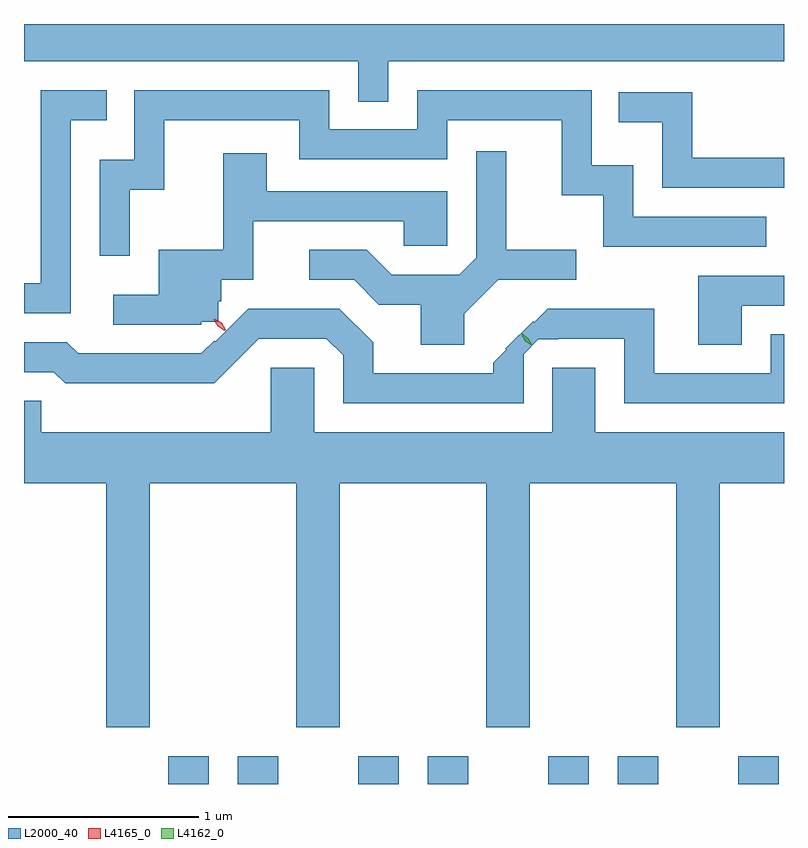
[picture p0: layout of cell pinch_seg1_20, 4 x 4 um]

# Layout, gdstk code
import gdstk
lib = gdstk.Library(unit=1e-6, precision=1e-09)
def R(c, l, rs):  # rectangles x0, y0, x1, y1
    for r in rs: c.add(gdstk.rectangle(r[:2], r[2:], *l))
def P(c, l, *ps):  # polygons
    for p in ps: c.add(gdstk.Polygon(p, *l))
L2000_40 = (2000, 40)
L4162_0 = (4162, 0)
L4165_0 = (4165, 0)

pinch_seg1_20 = lib.new_cell('pinch_seg1_20')
R(pinch_seg1_20, L2000_40, [(1895.071,846.933,1895.284,847.079), (1895.436,846.933,1895.649,847.079), (1896.071,846.933,1896.284,847.079), (1896.436,846.933,1896.649,847.079), (1897.071,846.933,1897.284,847.079), (1897.436,846.933,1897.649,847.079), (1898.071,846.933,1898.284,847.079)])
P(pinch_seg1_20, L2000_40, [(1896.229,850.736),(1898.312,850.736),(1898.312,850.933),(1894.312,850.933),(1894.312,850.736),(1896.071,850.736),(1896.071,850.523),(1896.229,850.523)],
  [(1894.869,850.061),(1895.049,850.061),(1895.049,850.426),(1895.761,850.426),(1895.761,850.221),(1896.539,850.221),(1896.539,850.426),(1897.141,850.426),(1897.141,850.031),(1897.361,850.031),(1897.361,849.761),(1898.218,849.761),(1898.218,849.919),(1897.519,849.919),(1897.519,850.189),(1897.299,850.189),(1897.299,850.584),(1896.381,850.584),(1896.381,850.379),(1895.919,850.379),(1895.919,850.584),(1894.891,850.584),(1894.891,850.219),(1894.711,850.219),(1894.711,849.713),(1894.869,849.713)],
  [(1894.559,850.426),(1894.748,850.426),(1894.748,850.584),(1894.401,850.584),(1894.401,849.569),(1894.312,849.569),(1894.312,849.411),(1894.559,849.411)],
  [(1898.312,850.229),(1897.829,850.229),(1897.829,850.574),(1897.443,850.574),(1897.443,850.416),(1897.671,850.416),(1897.671,850.071),(1898.312,850.071)],
  [(1896.629,849.409),(1896.807,849.586),(1897.218,849.586),(1897.218,849.744),(1896.849,849.744),(1896.849,850.263),(1896.691,850.263),(1896.691,849.702),(1896.604,849.614),(1896.247,849.614),(1896.117,849.744),(1895.813,849.744),(1895.813,849.586),(1896.049,849.586),(1896.179,849.456),(1896.401,849.456),(1896.401,849.246),(1896.629,849.246)],
  [(1895.246,849.365),(1895.334,849.365),(1895.334,849.473),(1895.349,849.473),(1895.349,849.586),(1895.519,849.586),(1895.519,849.896),(1896.311,849.896),(1896.311,849.766),(1896.539,849.766),(1896.539,850.054),(1895.589,850.054),(1895.589,850.254),(1895.361,850.254),(1895.361,849.744),(1895.021,849.744),(1895.021,849.509),(1894.783,849.509),(1894.783,849.351),(1895.246,849.351)],
  [(1898.089,849.451),(1898.312,849.451),(1898.312,849.609),(1897.861,849.609),(1897.861,849.246),(1898.089,849.246)],
  [(1896.941,849.196),(1897.019,849.274),(1897.125,849.274),(1897.125,849.276),(1897.471,849.276),(1897.471,848.936),(1898.312,848.936),(1898.312,849.299),(1898.241,849.299),(1898.241,849.094),(1897.629,849.094),(1897.629,849.434),(1897.068,849.434),(1896.997,849.364),(1896.992,849.369),(1896.846,849.223),(1896.851,849.219),(1896.781,849.15),(1896.781,849.094),(1896.149,849.094),(1896.149,849.257),(1895.972,849.434),(1895.493,849.434),(1895.32,849.262),(1895.314,849.267),(1895.246,849.199),(1894.597,849.199),(1894.537,849.259),(1894.312,849.259),(1894.312,849.101),(1894.469,849.101),(1894.529,849.041),(1895.312,849.041),(1895.547,849.276),(1895.904,849.276),(1895.991,849.189),(1895.991,848.936),(1896.941,848.936)],
  [(1894.974,848.516),(1895.746,848.516),(1895.746,847.231),(1895.974,847.231),(1895.974,848.516),(1896.746,848.516),(1896.746,847.231),(1896.974,847.231),(1896.974,848.516),(1897.746,848.516),(1897.746,847.231),(1897.974,847.231),(1897.974,848.516),(1898.312,848.516),(1898.312,848.784),(1897.319,848.784),(1897.319,849.124),(1897.091,849.124),(1897.091,848.784),(1895.839,848.784),(1895.839,849.124),(1895.611,849.124),(1895.611,848.784),(1894.404,848.784),(1894.404,848.949),(1894.312,848.949),(1894.312,848.516),(1894.746,848.516),(1894.746,847.231),(1894.974,847.231)])
P(pinch_seg1_20, L4162_0, [(1896.986,849.241),(1896.952,849.266),(1896.932,849.304),(1896.932,849.305),(1896.933,849.305),(1896.967,849.28),(1896.987,849.242),(1896.987,849.241)],
  [(1896.979,849.244),(1896.949,849.263),(1896.933,849.296),(1896.933,849.296),(1896.933,849.296),(1896.964,849.277),(1896.98,849.244),(1896.98,849.244)])
P(pinch_seg1_20, L4165_0, [(1895.37,849.315),(1895.332,849.342),(1895.308,849.382),(1895.308,849.383),(1895.309,849.383),(1895.347,849.355),(1895.37,849.316),(1895.37,849.315)],
  [(1895.374,849.322),(1895.337,849.346),(1895.315,849.383),(1895.315,849.383),(1895.315,849.383),(1895.352,849.36),(1895.374,849.323),(1895.374,849.322)])

lib.write_gds('pinch_seg1_20.gds')
